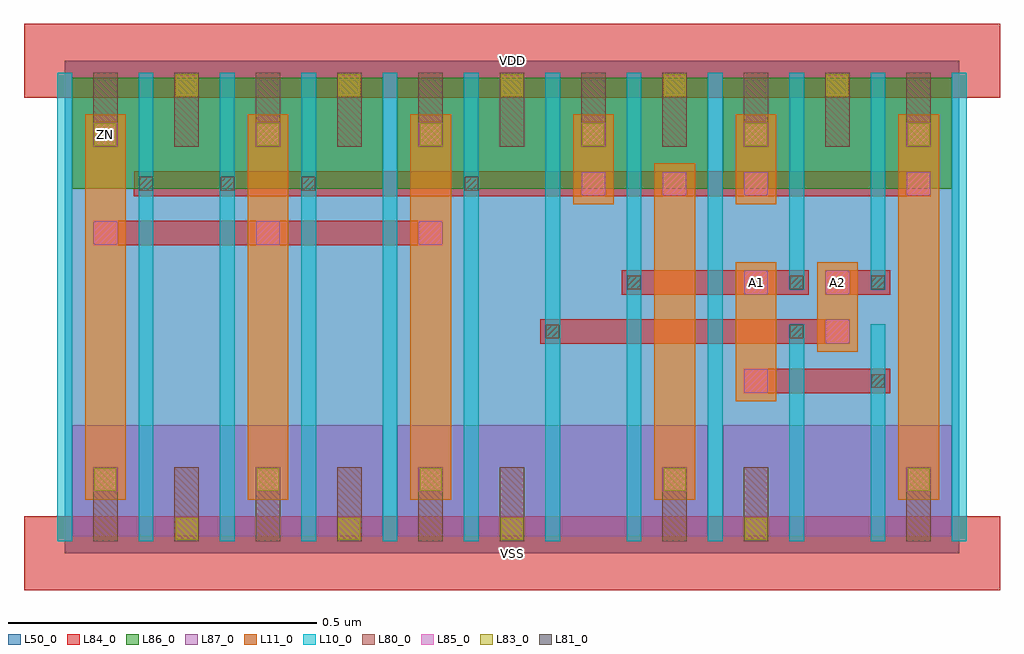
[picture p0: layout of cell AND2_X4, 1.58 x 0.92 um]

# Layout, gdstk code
import gdstk
lib = gdstk.Library(unit=1e-6, precision=1e-09)
def R(c, l, rs):  # rectangles x0, y0, x1, y1
    for r in rs: c.add(gdstk.rectangle(r[:2], r[2:], *l))
def A(c, l, x, y, w, h, nx, ny, dx, dy):  # array of equal rectangles
    R(c, l, [(x+i*dx, y+j*dy, x+i*dx+w, y+j*dy+h) for i in range(nx) for j in range(ny)])
L10_0 = (10, 0)
L11_0 = (11, 0)
L50_0 = (50, 0)
L80_0 = (80, 0)
L81_0 = (81, 0)
L83_0 = (83, 0)
L84_0 = (84, 0)
L85_0 = (85, 0)
L86_0 = (86, 0)
L87_0 = (87, 0)

and2_x4 = lib.new_cell('AND2_X4')
A(and2_x4, L10_0, -0.012, 0.02, 0.024, 0.76, 9, 1, 0.132, 0)
R(and2_x4, L10_0, [(1.176,0.02,1.2,0.372), (1.308,0.02,1.332,0.372), (1.44,0.02,1.464,0.78), (1.176,0.428,1.2,0.78), (1.308,0.428,1.332,0.78)])
A(and2_x4, L11_0, 0.033, 0.087, 0.066, 0.626, 3, 1, 0.264, 0)
R(and2_x4, L11_0, [(0.957,0.087,1.023,0.633), (1.353,0.087,1.419,0.713), (1.089,0.247,1.155,0.473), (1.221,0.327,1.287,0.473), (0.825,0.567,0.891,0.713), (1.089,0.567,1.155,0.713)])
R(and2_x4, L50_0, [(0,0,1.452,0.8)])
A(and2_x4, L80_0, 0.046, 0.02, 0.04, 0.12, 6, 1, 0.132, 0)
A(and2_x4, L80_0, 0.046, 0.66, 0.04, 0.12, 11, 1, 0.132, 0)
R(and2_x4, L80_0, [(0.97,0.02,1.01,0.14), (1.102,0.02,1.142,0.14), (1.366,0.02,1.406,0.14)])
A(and2_x4, L81_0, 0.121, 0.589, 0.022, 0.022, 3, 1, 0.132, 0)
R(and2_x4, L81_0, [(1.309,0.269,1.331,0.291), (0.781,0.349,0.803,0.371), (1.177,0.349,1.199,0.371), (0.913,0.429,0.935,0.451), (1.177,0.429,1.199,0.451), (1.309,0.429,1.331,0.451), (0.649,0.589,0.671,0.611)])
A(and2_x4, L83_0, 0.18, 0.022, 0.036, 0.036, 3, 1, 0.264, 0)
A(and2_x4, L83_0, 0.048, 0.102, 0.036, 0.036, 3, 1, 0.264, 0)
A(and2_x4, L83_0, 0.048, 0.662, 0.036, 0.036, 6, 1, 0.264, 0)
A(and2_x4, L83_0, 0.18, 0.742, 0.036, 0.036, 5, 1, 0.264, 0)
R(and2_x4, L83_0, [(1.104,0.022,1.14,0.058), (0.972,0.102,1.008,0.138), (1.368,0.102,1.404,0.138)])
A(and2_x4, L84_0, 0.046, 0.1, 0.04, 0.04, 3, 1, 0.264, 0)
A(and2_x4, L84_0, 0.046, 0.66, 0.04, 0.04, 6, 1, 0.264, 0)
R(and2_x4, L84_0, [(-0.066,-0.06,1.518,0.06), (0.97,0.1,1.01,0.14), (1.366,0.1,1.406,0.14), (1.102,0.26,1.34,0.3), (0.772,0.34,1.274,0.38), (0.904,0.42,1.208,0.46), (1.234,0.42,1.34,0.46), (0.046,0.5,0.614,0.54), (0.112,0.58,1.406,0.62), (-0.066,0.74,1.518,0.86)])
A(and2_x4, L85_0, 0.047, 0.101, 0.038, 0.038, 3, 2, 0.264, 0.4)
A(and2_x4, L85_0, 0.839, 0.581, 0.038, 0.038, 3, 1, 0.132, 0)
A(and2_x4, L85_0, 0.047, 0.661, 0.038, 0.038, 6, 1, 0.264, 0)
R(and2_x4, L85_0, [(0.971,0.101,1.009,0.139), (1.367,0.101,1.405,0.139), (1.103,0.261,1.141,0.299), (1.235,0.341,1.273,0.379), (1.103,0.421,1.141,0.459), (1.235,0.421,1.273,0.459), (1.367,0.581,1.405,0.619)])
R(and2_x4, L86_0, [(0.012,0.592,0.516,0.772), (0.54,0.592,1.044,0.772), (1.068,0.592,1.44,0.772)])
R(and2_x4, L87_0, [(0.012,0.028,0.516,0.208), (0.54,0.028,1.044,0.208), (1.068,0.028,1.44,0.208)])
and2_x4.add(gdstk.Label('VDD', (0.726,0.8), layer=88, texttype=0))
and2_x4.add(gdstk.Label('VSS', (0.726,0), layer=88, texttype=0))
and2_x4.add(gdstk.Label('A2', (1.254,0.44), layer=31, texttype=0))
and2_x4.add(gdstk.Label('ZN', (0.066,0.68), layer=31, texttype=0))
and2_x4.add(gdstk.Label('A1', (1.122,0.44), layer=31, texttype=0))

lib.write_gds('AND2_X4.gds')
